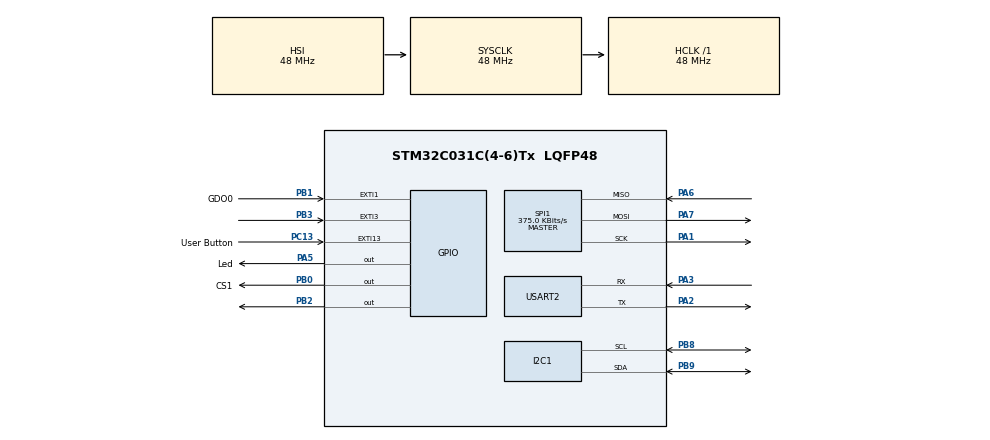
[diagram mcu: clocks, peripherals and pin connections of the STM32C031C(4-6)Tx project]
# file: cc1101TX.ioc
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I2C1.Timing=0x20303E5D
Mcu.Family=STM32C0
Mcu.Name=STM32C031C(4-6)Tx
Mcu.Package=LQFP48
NVIC.EXTI4_15_IRQn=true\:0\:0\:false\:false\:true\:true\:true\:true
PA1.Mode=Full_Duplex_Master
PA1.Signal=SPI1_SCK
PA13.Mode=Serial_Wire
PA13.Signal=DEBUG_SWDIO
PA14-BOOT0.Mode=Serial_Wire
PA14-BOOT0.Signal=DEBUG_SWCLK
PA2.Mode=Asynchronous
PA2.Signal=USART2_TX
PA3.Mode=Asynchronous
PA3.Signal=USART2_RX
PA5.GPIO_Label=Led
PA5.GPIO_Speed=GPIO_SPEED_FREQ_VERY_HIGH
PA5.PinState=GPIO_PIN_SET
PA5.Signal=GPIO_Output
PA6.Mode=Full_Duplex_Master
PA6.Signal=SPI1_MISO
PA7.Mode=Full_Duplex_Master
PA7.Signal=SPI1_MOSI
PB0.GPIO_Label=CS1
PB0.PinState=GPIO_PIN_SET
PB0.Signal=GPIO_Output
PB1.GPIO_Label=GDO0
PB1.Signal=GPXTI1
PB2.Signal=GPIO_Output
PB3.Signal=GPXTI3
PB8.Mode=I2C
PB8.Signal=I2C1_SCL
PB9.Mode=I2C
PB9.Signal=I2C1_SDA
PC13.GPIO_Label=User Button
PC13.Signal=GPXTI13
PC14-OSCX_IN\ (PC14).Mode=LSE-External-Oscillator
PC14-OSCX_IN\ (PC14).Signal=RCC_OSCX_IN
PC15-OSCX_OUT\ (PC15).Mode=LSE-External-Oscillator
PC15-OSCX_OUT\ (PC15).Signal=RCC_OSCX_OUT
PF0-OSC_IN\ (PF0).Mode=HSE-External-Oscillator
PF0-OSC_IN\ (PF0).Signal=RCC_OSC_IN
PF1-OSC_OUT\ (PF1).Mode=HSE-External-Oscillator
PF1-OSC_OUT\ (PF1).Signal=RCC_OSC_OUT
ProjectManager.HeapSize=0x200
ProjectManager.StackSize=0x400
ProjectManager.TargetToolchain=STM32CubeIDE
RCC.ADCFreq_Value=48000000
RCC.AHBFreq_Value=48000000
RCC.CortexFreq_Value=48000000
RCC.EXTERNAL_CLOCK_VALUE=12288000
RCC.HCLKFreq_Value=48000000
RCC.HSE_VALUE=48000000
RCC.HSISYSCLKDivider=RCC_HSI_DIV1
RCC.HSI_VALUE=48000000
RCC.SYSCLKFreq_VALUE=48000000
SPI1.BaudRatePrescaler=SPI_BAUDRATEPRESCALER_128
SPI1.CalculateBaudRate=375.0 KBits/s
SPI1.Direction=SPI_DIRECTION_2LINES
SPI1.Mode=SPI_MODE_MASTER
SPI1.NSSPMode=SPI_NSS_PULSE_DISABLE
SPI1.VirtualType=VM_MASTER
USART2.VirtualMode-Asynchronous=VM_ASYNC
board=NUCLEO-C031C6

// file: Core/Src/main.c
/* USER CODE BEGIN Header */
/**
 ******************************************************************************
 * @file           : main.c
 * @brief          : Main program body
 ******************************************************************************
 * @attention
 *
 * Copyright (c) 2025 STMicroelectronics.
 * All rights reserved.
 *
 * This software is licensed under terms that can be found in the LICENSE file
 * in the root directory of this software component.
 * If no LICENSE file comes with this software, it is provided AS-IS.
 *
 ******************************************************************************
 */
/* USER CODE END Header */
#include "main.h"

/* USER CODE BEGIN Includes */
#include "cc1101.h"
/* USER CODE END Includes */

/* USER CODE BEGIN PTD */
#define state 	1
/* USER CODE END PTD */

I2C_HandleTypeDef hi2c1;

SPI_HandleTypeDef hspi1;

UART_HandleTypeDef huart2;

/* USER CODE BEGIN PV */
volatile uint8_t GDO0_FLAG;
/* USER CODE END PV */

void SystemClock_Config(void);
static void MX_GPIO_Init(void);
static void MX_I2C1_Init(void);
static void MX_USART2_UART_Init(void);
static void MX_SPI1_Init(void);

/* USER CODE BEGIN 0 */
void UserLEDOff()
{
	HAL_GPIO_WritePin(Led_GPIO_Port, Led_Pin, GPIO_PIN_RESET);
}

void UserLEDOn()
{
	HAL_GPIO_WritePin(Led_GPIO_Port, Led_Pin, GPIO_PIN_SET);
}

/* USER CODE END 0 */

int main(void)
{
  /* USER CODE BEGIN 1 */
;

  /* USER CODE END 1 */

  /* MCU Configuration--------------------------------------------------------*/

  /* Reset of all peripherals, Initializes the Flash interface and the Systick. */
  HAL_Init();

  /* Configure the system clock */
  SystemClock_Config();

  /* Initialize all configured peripherals */
  MX_GPIO_Init();
  MX_I2C1_Init();
  MX_USART2_UART_Init();
  MX_SPI1_Init();
  /* USER CODE BEGIN 2 */
  BYTE status;
  Power_up_reset();
  TI_init(&hspi1, CS1_GPIO_Port, CS1_Pin);

#if state
  //for transiver
  //BYTE veri = 7;
  char packet[] = "RF Test";

  while (1)
  {

	  status = TI_read_status(CCxxx0_VERSION); // it is for checking only //sadece kontrol için
	  //it must be 0x14 //0x14 değeri vermelidir

	  status = TI_read_status(CCxxx0_TXBYTES); // it is too // bu da kontrol için

	  TI_strobe(CCxxx0_SFTX); // flush the buffer //bufferi temizler

	  UserLEDOn(); // turn on the led before send the data // veri göndermeden önce ledi yakar

	  TI_send_packet((BYTE*)packet, sizeof(packet)); //the function is sending the data

	  while(HAL_GPIO_ReadPin(GDO0_GPIO_Port, GDO0_Pin));
	  while(!HAL_GPIO_ReadPin(GDO0_GPIO_Port, GDO0_Pin));
	  //if the pass to this function, the data was sent. // veri gönderme işlemi tamamlanması için bekletir

	  status = TI_read_status(CCxxx0_TXBYTES); // it is checking to send the data //veri gönderildiğini kontrol etmek için

	  if(status < sizeof(packet)){
		  status = 0;
	  }

	  UserLEDOff(); // turn off the led // veri gönderildiğinde led söner
	  HAL_Delay(100);
  }

#endif

  /* USER CODE END 2 */

  /* Infinite loop */
	while (1)
	{

	}
}

void SystemClock_Config(void)
{
  RCC_OscInitTypeDef RCC_OscInitStruct = {0};
  RCC_ClkInitTypeDef RCC_ClkInitStruct = {0};

  /** Initializes the RCC Oscillators according to the specified parameters
  * in the RCC_OscInitTypeDef structure.
  */
  RCC_OscInitStruct.OscillatorType = RCC_OSCILLATORTYPE_HSI;
  RCC_OscInitStruct.HSIState = RCC_HSI_ON;
  RCC_OscInitStruct.HSIDiv = RCC_HSI_DIV1;
  RCC_OscInitStruct.HSICalibrationValue = RCC_HSICALIBRATION_DEFAULT;
  if (HAL_RCC_OscConfig(&RCC_OscInitStruct) != HAL_OK)
  {
    Error_Handler();
  }

  /** Initializes the CPU, AHB and APB buses clocks
  */
  RCC_ClkInitStruct.ClockType = RCC_CLOCKTYPE_HCLK|RCC_CLOCKTYPE_SYSCLK
                              |RCC_CLOCKTYPE_PCLK1;
  RCC_ClkInitStruct.SYSCLKSource = RCC_SYSCLKSOURCE_HSI;
  RCC_ClkInitStruct.SYSCLKDivider = RCC_SYSCLK_DIV1;
  RCC_ClkInitStruct.AHBCLKDivider = RCC_HCLK_DIV1;
  RCC_ClkInitStruct.APB1CLKDivider = RCC_APB1_DIV1;

  if (HAL_RCC_ClockConfig(&RCC_ClkInitStruct, FLASH_LATENCY_1) != HAL_OK)
  {
    Error_Handler();
  }
}

static void MX_I2C1_Init(void)
{

  hi2c1.Instance = I2C1;
  hi2c1.Init.Timing = 0x20303E5D;
  hi2c1.Init.OwnAddress1 = 0;
  hi2c1.Init.AddressingMode = I2C_ADDRESSINGMODE_7BIT;
  hi2c1.Init.DualAddressMode = I2C_DUALADDRESS_DISABLE;
  hi2c1.Init.OwnAddress2 = 0;
  hi2c1.Init.OwnAddress2Masks = I2C_OA2_NOMASK;
  hi2c1.Init.GeneralCallMode = I2C_GENERALCALL_DISABLE;
  hi2c1.Init.NoStretchMode = I2C_NOSTRETCH_DISABLE;
  if (HAL_I2C_Init(&hi2c1) != HAL_OK)
  {
    Error_Handler();
  }

  /** Configure Analogue filter
  */
  if (HAL_I2CEx_ConfigAnalogFilter(&hi2c1, I2C_ANALOGFILTER_ENABLE) != HAL_OK)
  {
    Error_Handler();
  }

  /** Configure Digital filter
  */
  if (HAL_I2CEx_ConfigDigitalFilter(&hi2c1, 0) != HAL_OK)
  {
    Error_Handler();
  }

}

static void MX_SPI1_Init(void)
{

  /* SPI1 parameter configuration*/
  hspi1.Instance = SPI1;
  hspi1.Init.Mode = SPI_MODE_MASTER;
  hspi1.Init.Direction = SPI_DIRECTION_2LINES;
  hspi1.Init.DataSize = SPI_DATASIZE_8BIT;
  hspi1.Init.CLKPolarity = SPI_POLARITY_LOW;
  hspi1.Init.CLKPhase = SPI_PHASE_1EDGE;
  hspi1.Init.NSS = SPI_NSS_SOFT;
  hspi1.Init.BaudRatePrescaler = SPI_BAUDRATEPRESCALER_128;
  hspi1.Init.FirstBit = SPI_FIRSTBIT_MSB;
  hspi1.Init.TIMode = SPI_TIMODE_DISABLE;
  hspi1.Init.CRCCalculation = SPI_CRCCALCULATION_DISABLE;
  hspi1.Init.CRCPolynomial = 7;
  hspi1.Init.CRCLength = SPI_CRC_LENGTH_DATASIZE;
  hspi1.Init.NSSPMode = SPI_NSS_PULSE_DISABLE;
  if (HAL_SPI_Init(&hspi1) != HAL_OK)
  {
    Error_Handler();
  }

}

static void MX_USART2_UART_Init(void)
{

  huart2.Instance = USART2;
  huart2.Init.BaudRate = 115200;
  huart2.Init.WordLength = UART_WORDLENGTH_8B;
  huart2.Init.StopBits = UART_STOPBITS_1;
  huart2.Init.Parity = UART_PARITY_NONE;
  huart2.Init.Mode = UART_MODE_TX_RX;
  huart2.Init.HwFlowCtl = UART_HWCONTROL_NONE;
  huart2.Init.OverSampling = UART_OVERSAMPLING_16;
  huart2.Init.OneBitSampling = UART_ONE_BIT_SAMPLE_DISABLE;
  huart2.Init.ClockPrescaler = UART_PRESCALER_DIV1;
  huart2.AdvancedInit.AdvFeatureInit = UART_ADVFEATURE_NO_INIT;
  if (HAL_UART_Init(&huart2) != HAL_OK)
  {
    Error_Handler();
  }

}

static void MX_GPIO_Init(void)
{
  GPIO_InitTypeDef GPIO_InitStruct = {0};

  /* GPIO Ports Clock Enable */
  __HAL_RCC_GPIOC_CLK_ENABLE();
  __HAL_RCC_GPIOF_CLK_ENABLE();
  __HAL_RCC_GPIOA_CLK_ENABLE();
  __HAL_RCC_GPIOB_CLK_ENABLE();

  /*Configure GPIO pin Output Level */
  HAL_GPIO_WritePin(Led_GPIO_Port, Led_Pin, GPIO_PIN_SET);

  /*Configure GPIO pin Output Level */
  HAL_GPIO_WritePin(CS1_GPIO_Port, CS1_Pin, GPIO_PIN_SET);

  /*Configure GPIO pin Output Level */
  HAL_GPIO_WritePin(GPIOB, GPIO_PIN_2, GPIO_PIN_RESET);

  /*Configure GPIO pin : User_Button_Pin */
  GPIO_InitStruct.Pin = User_Button_Pin;
  GPIO_InitStruct.Mode = GPIO_MODE_IT_RISING;
  GPIO_InitStruct.Pull = GPIO_NOPULL;
  HAL_GPIO_Init(User_Button_GPIO_Port, &GPIO_InitStruct);

  /*Configure GPIO pin : Led_Pin */
  GPIO_InitStruct.Pin = Led_Pin;
  GPIO_InitStruct.Mode = GPIO_MODE_OUTPUT_PP;
  GPIO_InitStruct.Pull = GPIO_NOPULL;
  GPIO_InitStruct.Speed = GPIO_SPEED_FREQ_VERY_HIGH;
  HAL_GPIO_Init(Led_GPIO_Port, &GPIO_InitStruct);

  /*Configure GPIO pins : CS1_Pin PB2 */
  GPIO_InitStruct.Pin = CS1_Pin|GPIO_PIN_2;
  GPIO_InitStruct.Mode = GPIO_MODE_OUTPUT_PP;
  GPIO_InitStruct.Pull = GPIO_NOPULL;
  GPIO_InitStruct.Speed = GPIO_SPEED_FREQ_LOW;
  HAL_GPIO_Init(GPIOB, &GPIO_InitStruct);
#if state
  //for transiver
	/*Configure GPIO pin : GDO0_Pin */
	GPIO_InitStruct.Pin = GDO0_Pin;
	GPIO_InitStruct.Mode = GPIO_MODE_INPUT;
	GPIO_InitStruct.Pull = GPIO_PULLUP;
	HAL_GPIO_Init(GDO0_GPIO_Port, &GPIO_InitStruct);
#endif
  /*Configure GPIO pins : GDO0_Pin PB3 */
 /* GPIO_InitStruct.Pin = GDO0_Pin|GPIO_PIN_3;
  GPIO_InitStruct.Mode = GPIO_MODE_IT_RISING;
  GPIO_InitStruct.Pull = GPIO_NOPULL;
  HAL_GPIO_Init(GPIOB, &GPIO_InitStruct);
*/
  /* EXTI interrupt init*/
  HAL_NVIC_SetPriority(EXTI4_15_IRQn, 0, 0);
  HAL_NVIC_EnableIRQ(EXTI4_15_IRQn);

}

void Error_Handler(void)
{
	__disable_irq();
	while (1)
	{
	}
}
